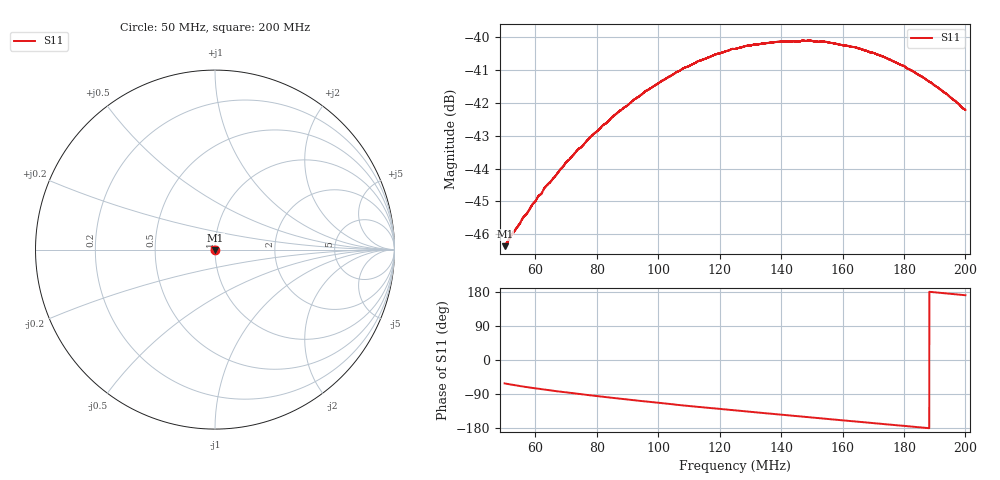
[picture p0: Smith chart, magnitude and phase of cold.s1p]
! COPPER MOUNTAIN TECHNOLOGIES, PLANAR TR1300/1, 00071119, 20.2.2/1.0
! Date: 11/21/2023 7:11:57 PM
! Data: Format [Calibration Info]
! Freq  S11: Re/Im F1
# HZ S RI R 50
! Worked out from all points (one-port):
!   12288 points, 50 MHz to 200 MHz, reference 50 ohm
!   lowest |S11| = -46.4 dB at 50.01 MHz (marker M1), VSWR 1.01, Z = 50.2 - j0.425 ohm
!   |S11| at or under -10 dB: start of sweep to end of sweep
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5e7  0.00227 -0.00424
5.001221e7  0.00227 -0.00423
5.069586e7  0.00221 -0.00432
5.600635e7  0.00182 -0.00499
6.330675e7  0.00119 -0.0058
6.875153e7  0.000644 -0.0063
7.348824e7  0.000147 -0.00672
7.534386e7  -6.51e-05 -0.00683
7.800521e7  -0.000402 -0.00704
8.750305e7  -0.0016 -0.00756
9.598763e7  -0.00275 -0.00781
1.062546e8  -0.00422 -0.0078
1.132742e8  -0.00514 -0.00764
1.187922e8  -0.00581 -0.00742
1.250061e8  -0.00652 -0.00706
1.285831e8  -0.00693 -0.00679
1.34211e8  -0.00748 -0.00632
1.437576e8  -0.00828 -0.00536
1.492879e8  -0.00868 -0.00474
1.542443e8  -0.00892 -0.00417
1.625092e8  -0.00916 -0.00315
1.705909e8  -0.0092 -0.00213
1.74119e8  -0.00916 -0.0017
1.812607e8  -0.00892 -0.000819
1.890738e8  -0.00852 9.02e-05
1.939082e8  -0.00817 0.000624
1.992187e8  -0.00771 0.00116
2e8  -0.00765 0.00123
